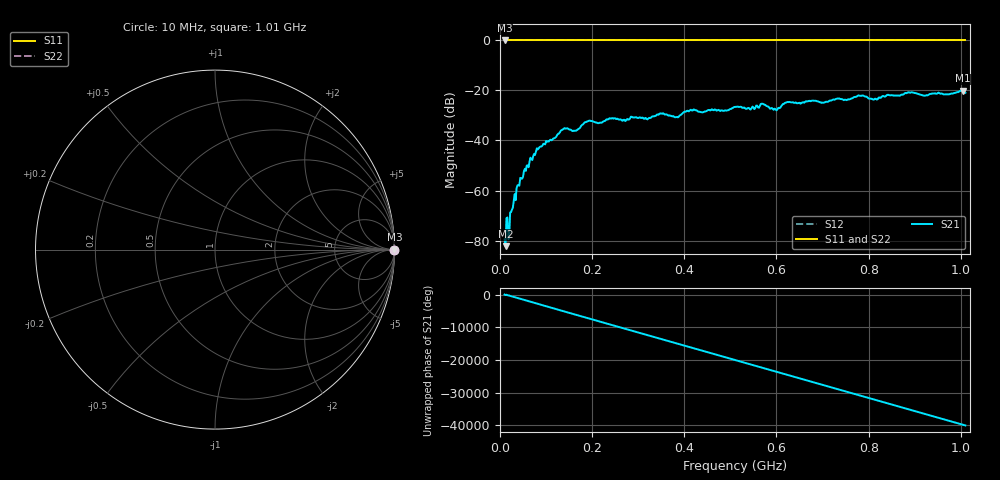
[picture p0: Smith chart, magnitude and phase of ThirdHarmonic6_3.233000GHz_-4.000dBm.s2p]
! 8/17/2025 9:54:07 AM
! C:\ANRITSUVNA\TEMP\TEMP.S2P
! CHANNEL.1
! TR.MEASUREMENT
! RAW.DATA
! RF.CORRECTION.OFF
! AVERAGING.OFF
! IF.BANDWIDTH: 5KHZ
! SWEEPTYPE:  FREQ.SWEEP(Linear)
! Reference Plane Port Info
! PORT:  PORT1  PORT2
! DISTANCE:  0  m  0  m
! TIME:  0  s  0  s
! PHASE.OFFSET:  0  deg.  0  deg.
! LOSS:  0  dB  0  dB
! REF.LOSS:  0  dB  0  dB
! REF.FREQ:  0  Hz  0  Hz
! Power Info
! POWER:  -20  dBm  -20  dBm
! EFF.POWER:  -20  dBm  -20  dBm
! SOURCE.ATTEN:  0  dB  0  dB
! TEST.ATTEN:  0  dB  0  dB
# GHZ S RI R 50.0
! FREQ.GHZ  S11RE  S11IM  S21RE  S21IM  S12RE  S12IM  S22RE  S22IM
!; PortSelection: Port_12
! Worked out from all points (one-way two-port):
!   501 points, 10 MHz to 1.01 GHz, reference 50 ohm
!   highest |S21| = -20.11 dB at 1.004 GHz (marker M1); lowest = -82.3 dB at 12 MHz (marker M2)
!   lowest |S11| = 0.0 dB at 10 MHz (marker M3)
!   |S11| at or under -10 dB: nowhere
!   |S22| runs from 0.0 to 0.0 dB; largest |S21 - S12| = 1.1
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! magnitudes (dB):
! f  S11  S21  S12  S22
! 10 MHz  0.0  -79.5  0.0  0.0
! 12 MHz  0.0  -82.3  0.0  0.0
! 22 MHz  0.0  -68.8  0.0  0.0
! 26 MHz  0.0  -67.7  0.0  0.0
! 40 MHz  0.0  -57.9  0.0  0.0
! 82 MHz  0.0  -43.6  0.0  0.0
! 136 MHz  0.0  -35.6  0.0  0.0
! 162 MHz  0.0  -36.1  0.0  0.0
! 178 MHz  0.0  -33.8  0.0  0.0
! 194 MHz  0.0  -32.0  0.0  0.0
! 322 MHz  0.0  -31.2  0.0  0.0
! 344 MHz  0.0  -29.7  0.0  0.0
! 384 MHz  0.0  -30.6  0.0  0.0
! 416 MHz  0.0  -28.0  0.0  0.0
! 510 MHz  0.0  -26.6  0.0  0.0
! 570 MHz  0.0  -25.3  0.0  0.0
! 598 MHz  0.0  -27.5  0.0  0.0
! 624 MHz  0.0  -24.6  0.0  0.0
! 678 MHz  0.0  -24.1  0.0  0.0
! 844 MHz  0.0  -21.8  0.0  0.0
! 1.004 GHz  0.0  -20.1  0.0  0.0
! 1.01 GHz  0.0  -20.9  0.0  0.0
